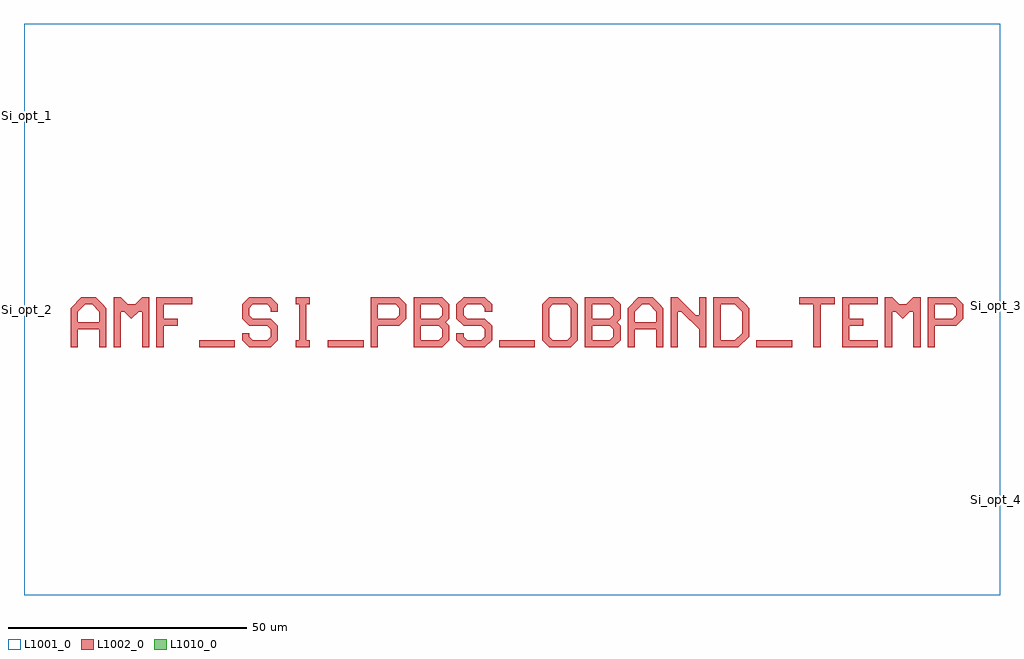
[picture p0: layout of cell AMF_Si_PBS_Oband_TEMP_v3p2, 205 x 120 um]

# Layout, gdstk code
import gdstk
lib = gdstk.Library(unit=1e-6, precision=1e-09)
def R(c, l, rs):  # rectangles x0, y0, x1, y1
    for r in rs: c.add(gdstk.rectangle(r[:2], r[2:], *l))
def P(c, l, *ps):  # polygons
    for p in ps: c.add(gdstk.Polygon(p, *l))
L1001_0 = (1001, 0)
L1002_0 = (1002, 0)
L1010_0 = (1010, 0)

amf_si_pbs_oband_temp_v3 = lib.new_cell('AMF_Si_PBS_Oband_TEMP_v3p2')
R(amf_si_pbs_oband_temp_v3, L1001_0, [(0,-60,205,60)])
R(amf_si_pbs_oband_temp_v3, L1002_0, [(36.818,-7.948,44.318,-6.448), (63.818,-7.948,71.318,-6.448), (99.818,-7.948,107.318,-6.448), (153.818,-7.948,161.318,-6.448)])
P(amf_si_pbs_oband_temp_v3, L1002_0, [(9.818,-7.948),(9.818,0.302),(12.068,2.552),(15.068,2.552),(16.568,1.052),(12.818,1.052),(11.318,-0.448),(11.318,-2.698),(15.818,-2.698),(15.818,-0.448),(14.318,1.052),(16.568,1.052),(17.318,0.302),(17.318,-7.948),(15.818,-7.948),(15.818,-4.198),(11.318,-4.198),(11.318,-7.948)],
  [(18.818,-7.948),(18.818,2.552),(20.318,2.552),(21.818,1.052),(23.318,1.052),(24.818,2.552),(26.318,2.552),(26.318,-7.948),(24.818,-7.948),(24.818,-0.448),(24.068,-0.448),(22.568,-1.948),(21.068,-0.448),(20.318,-0.448),(20.318,-7.948)],
  [(27.818,-7.948),(27.818,2.552),(35.318,2.552),(35.318,1.052),(29.318,1.052),(29.318,-1.948),(32.318,-1.948),(32.318,-3.448),(29.318,-3.448),(29.318,-7.948)],
  [(47.318,-7.948),(45.818,-6.448),(45.818,-4.948),(47.318,-4.948),(47.318,-5.698),(48.068,-6.448),(51.068,-6.448),(51.818,-5.698),(51.818,-4.198),(51.068,-3.448),(47.318,-3.448),(45.818,-1.948),(45.818,1.052),(47.318,2.552),(51.818,2.552),(53.318,1.052),(53.318,-0.448),(51.818,-0.448),(51.818,0.302),(51.068,1.052),(48.068,1.052),(47.318,0.302),(47.318,-1.198),(48.068,-1.948),(51.818,-1.948),(53.318,-3.448),(53.318,-6.448),(51.818,-7.948)],
  [(57.068,-7.948),(57.068,-6.448),(57.818,-6.448),(57.818,1.052),(57.068,1.052),(57.068,2.552),(60.068,2.552),(60.068,1.052),(59.318,1.052),(59.318,-6.448),(60.068,-6.448),(60.068,-7.948)],
  [(72.818,-7.948),(72.818,2.552),(78.818,2.552),(80.318,1.052),(80.318,-1.948),(78.818,-3.448),(74.318,-3.448),(74.318,-1.948),(78.068,-1.948),(78.818,-1.198),(78.818,0.302),(78.068,1.052),(74.318,1.052),(74.318,-7.948)],
  [(81.818,-7.948),(81.818,2.552),(87.818,2.552),(89.318,1.052),(83.318,1.052),(83.318,-1.948),(87.068,-1.948),(87.818,-1.198),(87.818,0.302),(87.068,1.052),(89.318,1.052),(89.318,-1.948),(88.568,-2.698),(89.318,-3.448),(83.318,-3.448),(83.318,-6.448),(87.068,-6.448),(87.818,-5.698),(87.818,-4.198),(87.068,-3.448),(89.318,-3.448),(89.318,-6.448),(87.818,-7.948)],
  [(92.318,-7.948),(90.818,-6.448),(90.818,-4.948),(92.318,-4.948),(92.318,-5.698),(93.068,-6.448),(96.068,-6.448),(96.818,-5.698),(96.818,-4.198),(96.068,-3.448),(92.318,-3.448),(90.818,-1.948),(90.818,1.052),(92.318,2.552),(96.818,2.552),(98.318,1.052),(98.318,-0.448),(96.818,-0.448),(96.818,0.302),(96.068,1.052),(93.068,1.052),(92.318,0.302),(92.318,-1.198),(93.068,-1.948),(96.818,-1.948),(98.318,-3.448),(98.318,-6.448),(96.818,-7.948)],
  [(110.318,-7.948),(108.818,-6.448),(108.818,1.052),(110.318,2.552),(114.818,2.552),(116.318,1.052),(116.318,-2.698),(114.818,-2.698),(114.818,0.302),(114.068,1.052),(111.068,1.052),(110.318,0.302),(110.318,-5.698),(111.068,-6.448),(114.068,-6.448),(114.818,-5.698),(114.818,-2.698),(116.318,-2.698),(116.318,-6.448),(114.818,-7.948)],
  [(117.818,-7.948),(117.818,2.552),(123.818,2.552),(125.318,1.052),(119.318,1.052),(119.318,-1.948),(123.068,-1.948),(123.818,-1.198),(123.818,0.302),(123.068,1.052),(125.318,1.052),(125.318,-1.948),(124.568,-2.698),(125.318,-3.448),(119.318,-3.448),(119.318,-6.448),(123.068,-6.448),(123.818,-5.698),(123.818,-4.198),(123.068,-3.448),(125.318,-3.448),(125.318,-6.448),(123.818,-7.948)],
  [(126.818,-7.948),(126.818,0.302),(129.068,2.552),(132.068,2.552),(133.568,1.052),(129.818,1.052),(128.318,-0.448),(128.318,-2.698),(132.818,-2.698),(132.818,-0.448),(131.318,1.052),(133.568,1.052),(134.318,0.302),(134.318,-7.948),(132.818,-7.948),(132.818,-4.198),(128.318,-4.198),(128.318,-7.948)],
  [(135.818,-7.948),(135.818,2.552),(137.318,2.552),(141.068,-1.198),(141.818,-1.198),(141.818,2.552),(143.318,2.552),(143.318,-7.948),(141.818,-7.948),(141.818,-4.198),(138.068,-0.448),(137.318,-0.448),(137.318,-7.948)],
  [(144.818,-7.948),(144.818,2.552),(150.068,2.552),(151.568,1.052),(146.318,1.052),(146.318,-6.448),(149.318,-6.448),(150.818,-4.948),(150.818,-0.448),(149.318,1.052),(151.568,1.052),(152.318,0.302),(152.318,-5.698),(150.068,-7.948)],
  [(165.818,-7.948),(165.818,1.052),(162.818,1.052),(162.818,2.552),(170.318,2.552),(170.318,1.052),(167.318,1.052),(167.318,-7.948)],
  [(171.818,-7.948),(171.818,2.552),(179.318,2.552),(179.318,1.052),(173.318,1.052),(173.318,-1.948),(176.318,-1.948),(176.318,-3.448),(173.318,-3.448),(173.318,-6.448),(179.318,-6.448),(179.318,-7.948)],
  [(180.818,-7.948),(180.818,2.552),(182.318,2.552),(183.818,1.052),(185.318,1.052),(186.818,2.552),(188.318,2.552),(188.318,-7.948),(186.818,-7.948),(186.818,-0.448),(186.068,-0.448),(184.568,-1.948),(183.068,-0.448),(182.318,-0.448),(182.318,-7.948)],
  [(189.818,-7.948),(189.818,2.552),(195.818,2.552),(197.318,1.052),(197.318,-1.948),(195.818,-3.448),(191.318,-3.448),(191.318,-1.948),(195.068,-1.948),(195.818,-1.198),(195.818,0.302),(195.068,1.052),(191.318,1.052),(191.318,-7.948)])
R(amf_si_pbs_oband_temp_v3, L1010_0, [(204.59,-40.205,205,-39.795), (0,-0.205,0.41,0.205), (204.59,0.645,205,1.055), (0,40.645,0.41,41.055)])
amf_si_pbs_oband_temp_v3.add(gdstk.Label('Si_opt_2', (0,0), layer=1010, texttype=0))
amf_si_pbs_oband_temp_v3.add(gdstk.Label('Si_opt_1', (0,40.85), layer=1010, texttype=0))
amf_si_pbs_oband_temp_v3.add(gdstk.Label('Si_opt_4', (205,-40), layer=1010, texttype=0))
amf_si_pbs_oband_temp_v3.add(gdstk.Label('Si_opt_3', (205,0.85), layer=1010, texttype=0))

lib.write_gds('AMF_Si_PBS_Oband_TEMP_v3p2.gds')
